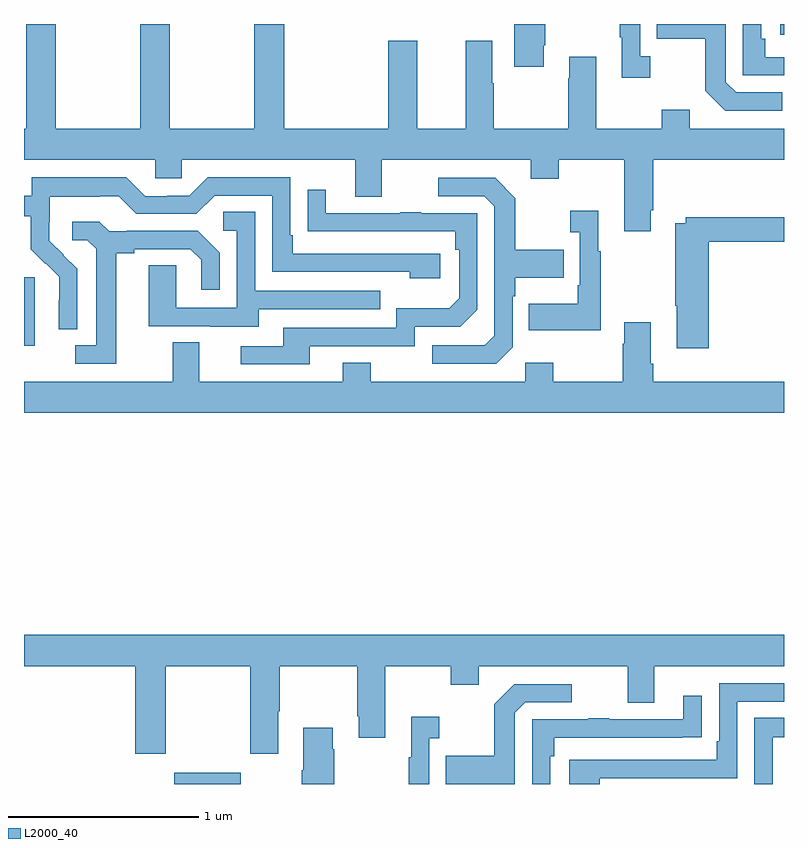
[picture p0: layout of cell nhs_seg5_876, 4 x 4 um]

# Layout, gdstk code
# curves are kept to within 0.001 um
import gdstk
lib = gdstk.Library(unit=1e-6, precision=1e-09)
def R(c, l, rs):  # rectangles x0, y0, x1, y1
    for r in rs: c.add(gdstk.rectangle(r[:2], r[2:], *l))
def P(c, l, *ps):  # polygons
    for p in ps: c.add(gdstk.Polygon(p, *l))
L2000_40 = (2000, 40)

nhs_seg5_876 = lib.new_cell('nhs_seg5_876')
R(nhs_seg5_876, L2000_40, [(167.792,862.799,168.142,862.858), (167,865.106,167.056,865.467), (170.979,866.742,171,866.799)])
P(nhs_seg5_876, L2000_40, [(171,866.625),(170.9,866.625),(170.9,866.722),(170.88,866.722),(170.88,866.799),(170.784,866.799),(170.784,866.529),(171,866.529)],
  [(170.992,866.439),(170.748,866.439),(170.694,866.493),(170.694,866.799),(170.329,866.799),(170.329,866.722),(170.586,866.722),(170.586,866.449),(170.691,866.343),(170.992,866.343)],
  [(169.735,866.686),(169.743,866.686),(169.743,866.799),(169.573,866.799),(169.573,866.797),(169.58,866.797),(169.58,866.574),(169.735,866.574)],
  [(168.371,866.799),(168.211,866.799),(168.211,866.248),(167.766,866.248),(167.766,866.799),(167.611,866.799),(167.611,866.248),(167.166,866.248),(167.166,866.799),(167.011,866.799),(167.011,866.248),(167,866.248),(167,866.084),(167.691,866.084),(167.691,865.986),(167.829,865.986),(167.829,866.084),(168.743,866.084),(168.743,865.89),(168.883,865.89),(168.883,866.084),(169.667,866.084),(169.667,865.985),(169.815,865.985),(169.815,866.084),(170.159,866.084),(170.159,865.707),(170.299,865.707),(170.299,865.819),(170.312,865.819),(170.312,866.084),(171,866.084),(171,866.248),(170.503,866.248),(170.503,866.347),(170.356,866.347),(170.356,866.248),(170.011,866.248),(170.011,866.626),(169.871,866.626),(169.871,866.513),(169.864,866.513),(169.864,866.248),(169.473,866.248),(169.473,866.486),(169.465,866.486),(169.465,866.71),(169.325,866.71),(169.325,866.248),(169.069,866.248),(169.069,866.71),(168.917,866.71),(168.917,866.248),(168.371,866.248)],
  [(170.296,866.63),(170.244,866.63),(170.244,866.799),(170.136,866.799),(170.136,866.729),(170.147,866.729),(170.147,866.517),(170.296,866.517)],
  [(167.28,865.51),(167.134,865.658),(167.134,865.755),(167.136,865.755),(167.136,865.889),(167.399,865.889),(167.399,865.893),(167.499,865.893),(167.592,865.8),(167.907,865.8),(168.003,865.896),(168.306,865.896),(168.306,865.494),(169.031,865.494),(169.031,865.46),(169.192,865.46),(169.192,865.59),(168.415,865.59),(168.415,865.687),(168.402,865.687),(168.402,865.992),(167.967,865.992),(167.871,865.896),(167.753,865.896),(167.753,865.893),(167.637,865.893),(167.537,865.993),(167.04,865.993),(167.04,865.896),(167,865.896),(167,865.788),(167.035,865.788),(167.035,865.613),(167.112,865.536),(167.115,865.539),(167.186,865.469),(167.186,865.346),(167.184,865.346),(167.184,865.192),(167.28,865.192)],
  [(169.572,865.098),(169.572,865.367),(169.585,865.367),(169.585,865.463),(169.841,865.463),(169.841,865.611),(169.585,865.611),(169.585,865.883),(169.479,865.989),(169.179,865.989),(169.179,865.893),(169.422,865.893),(169.476,865.839),(169.476,865.158),(169.425,865.107),(169.149,865.107),(169.149,865.011),(169.485,865.011)],
  [(168.505,865.104),(169.056,865.104),(169.056,865.206),(169.296,865.206),(169.386,865.296),(169.386,865.803),(169.091,865.803),(169.091,865.808),(168.979,865.808),(168.979,865.803),(168.589,865.803),(168.589,865.927),(168.493,865.927),(168.493,865.708),(169.27,865.707),(169.27,865.61),(169.29,865.61),(169.29,865.356),(169.237,865.303),(168.96,865.303),(168.96,865.2),(168.365,865.2),(168.365,865.104),(168.141,865.104),(168.141,865.008),(168.505,865.008)],
  [(170.035,865.603),(170.023,865.603),(170.023,865.816),(169.875,865.816),(169.875,865.703),(169.926,865.703),(169.926,865.423),(169.914,865.423),(169.914,865.327),(169.657,865.327),(169.657,865.187),(170.035,865.187)],
  [(168.235,865.299),(168.875,865.299),(168.875,865.395),(168.216,865.395),(168.216,865.811),(168.048,865.811),(168.048,865.71),(168.12,865.71),(168.12,865.305),(167.802,865.305),(167.802,865.529),(167.657,865.529),(167.657,865.209),(167.981,865.209),(167.981,865.205),(168.235,865.205)],
  [(170.603,865.654),(171,865.654),(171,865.783),(170.484,865.783),(170.484,865.75),(170.428,865.75),(170.428,865.315),(170.435,865.315),(170.435,865.092),(170.603,865.092)],
  [(167.485,865.592),(167.581,865.592),(167.581,865.614),(167.876,865.614),(167.933,865.557),(167.933,865.401),(168.03,865.401),(168.03,865.594),(167.914,865.71),(167.542,865.71),(167.542,865.707),(167.448,865.707),(167.396,865.759),(167.253,865.759),(167.253,865.662),(167.334,865.662),(167.381,865.615),(167.381,865.107),(167.271,865.107),(167.271,865.011),(167.485,865.011)],
  [(171,864.916),(170.312,864.916),(170.312,865.012),(170.299,865.012),(170.299,865.228),(170.159,865.228),(170.159,865.115),(170.152,865.115),(170.152,864.916),(169.785,864.916),(169.785,865.015),(169.638,865.015),(169.638,864.916),(168.825,864.916),(168.825,865.015),(168.677,865.015),(168.677,864.916),(167.923,864.916),(167.923,865.124),(167.783,865.124),(167.783,864.916),(167,864.916),(167,864.752),(171,864.752)],
  [(167.745,863.42),(168.19,863.42),(168.19,862.959),(168.337,862.959),(168.337,863.182),(168.345,863.182),(168.345,863.42),(168.754,863.42),(168.754,863.155),(168.761,863.155),(168.761,863.043),(168.901,863.043),(168.901,863.42),(169.246,863.42),(169.246,863.321),(169.393,863.321),(169.393,863.42),(170.177,863.42),(170.177,863.226),(170.317,863.226),(170.317,863.42),(171,863.42),(171,863.584),(167,863.584),(167,863.42),(167.585,863.42),(167.585,862.959),(167.745,862.959)],
  [(170.03,862.83),(170.754,862.83),(170.754,863.232),(171,863.232),(171,863.328),(170.658,863.328),(170.658,863.023),(170.645,863.023),(170.645,862.926),(169.869,862.926),(169.869,862.799),(170.03,862.799)],
  [(169.584,863.175),(169.638,863.229),(169.882,863.229),(169.882,863.325),(169.581,863.325),(169.476,863.219),(169.476,862.947),(169.219,862.947),(169.219,862.799),(169.584,862.799)],
  [(169.77,862.946),(169.79,862.946),(169.79,863.043),(170.465,863.043),(170.465,863.044),(170.567,863.044),(170.567,863.263),(170.471,863.263),(170.471,863.139),(170.081,863.139),(170.081,863.144),(169.969,863.144),(169.969,863.139),(169.674,863.139),(169.674,862.799),(169.77,862.799)],
  [(169.134,863.039),(169.186,863.039),(169.186,863.152),(169.037,863.152),(169.037,862.939),(169.026,862.939),(169.026,862.799),(169.134,862.799)],
  [(170.94,863.046),(171,863.046),(171,863.147),(170.844,863.147),(170.844,862.799),(170.94,862.799)],
  [(168.633,862.982),(168.625,862.982),(168.625,863.095),(168.47,863.095),(168.47,862.871),(168.463,862.871),(168.463,862.799),(168.633,862.799)])

lib.write_gds('nhs_seg5_876.gds')
